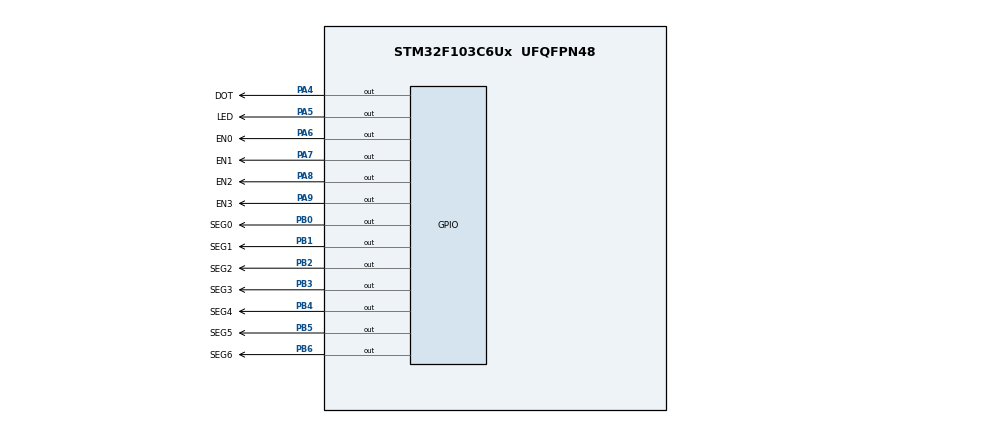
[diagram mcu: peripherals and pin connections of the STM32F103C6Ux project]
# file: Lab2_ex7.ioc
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Mcu.Family=STM32F1
Mcu.Name=STM32F103C6Ux
Mcu.Package=UFQFPN48
NVIC.PriorityGroup=NVIC_PRIORITYGROUP_4
NVIC.TIM2_IRQn=true\:0\:0\:false\:false\:true\:true\:true
PA4.GPIO_Label=DOT
PA4.Signal=GPIO_Output
PA5.GPIO_Label=LED
PA5.Signal=GPIO_Output
PA6.GPIO_Label=EN0
PA6.Signal=GPIO_Output
PA7.GPIO_Label=EN1
PA7.Signal=GPIO_Output
PA8.GPIO_Label=EN2
PA8.Signal=GPIO_Output
PA9.GPIO_Label=EN3
PA9.Signal=GPIO_Output
PB0.GPIO_Label=SEG0
PB0.Signal=GPIO_Output
PB1.GPIO_Label=SEG1
PB1.Signal=GPIO_Output
PB2.GPIO_Label=SEG2
PB2.Signal=GPIO_Output
PB3.GPIO_Label=SEG3
PB3.Signal=GPIO_Output
PB4.GPIO_Label=SEG4
PB4.Signal=GPIO_Output
PB5.GPIO_Label=SEG5
PB5.Signal=GPIO_Output
PB6.GPIO_Label=SEG6
PB6.Signal=GPIO_Output
ProjectManager.HeapSize=0x200
ProjectManager.StackSize=0x400
ProjectManager.TargetToolchain=STM32CubeIDE
RCC.APB1Freq_Value=8000000
RCC.APB2Freq_Value=8000000
TIM2.Period=9
TIM2.Prescaler=7999
VP_SYS_VS_ND.Mode=No_Debug
VP_TIM2_VS_ClockSourceINT.Mode=Internal
board=custom

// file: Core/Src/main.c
/* USER CODE BEGIN Header */
/**
  ******************************************************************************
  * @file           : main.c
  * @brief          : Main program body
  ******************************************************************************
  * @attention
  *
  * <h2><center>&copy; Copyright (c) 2022 STMicroelectronics.
  * All rights reserved.</center></h2>
  *
  * This software component is licensed by ST under BSD 3-Clause license,
  * the "License"; You may not use this file except in compliance with the
  * License. You may obtain a copy of the License at:
  *                        opensource.org/licenses/BSD-3-Clause
  *
  ******************************************************************************
  */
/* USER CODE END Header */
#include "main.h"

TIM_HandleTypeDef htim2;

void SystemClock_Config(void);
static void MX_GPIO_Init(void);
static void MX_TIM2_Init(void);

/* USER CODE BEGIN 0 */
void display7SEG(int num){
		  // VARIABLES a,b,c,d,e,f,g ARE DEFINED BY THESE SPECIFIC DESCRIPTION ABOVE.
		  // DISLAY NUMBER 0
			if(num == 0){
				HAL_GPIO_WritePin ( SEG0_GPIO_Port , SEG0_Pin ,GPIO_PIN_RESET );
				HAL_GPIO_WritePin ( SEG1_GPIO_Port , SEG1_Pin ,GPIO_PIN_RESET );
				HAL_GPIO_WritePin ( SEG2_GPIO_Port , SEG2_Pin ,GPIO_PIN_RESET );
				HAL_GPIO_WritePin ( SEG3_GPIO_Port , SEG3_Pin ,GPIO_PIN_RESET );
				HAL_GPIO_WritePin ( SEG4_GPIO_Port , SEG4_Pin ,GPIO_PIN_RESET );
				HAL_GPIO_WritePin ( SEG5_GPIO_Port , SEG5_Pin ,GPIO_PIN_RESET );
				HAL_GPIO_WritePin ( SEG6_GPIO_Port , SEG6_Pin ,GPIO_PIN_SET );
			}
			// DISLAY NUMBER 1
			else if(num == 1){
				HAL_GPIO_WritePin ( SEG0_GPIO_Port , SEG0_Pin ,GPIO_PIN_SET );
				HAL_GPIO_WritePin ( SEG1_GPIO_Port , SEG1_Pin ,GPIO_PIN_RESET );
				HAL_GPIO_WritePin ( SEG2_GPIO_Port , SEG2_Pin ,GPIO_PIN_RESET );
				HAL_GPIO_WritePin ( SEG3_GPIO_Port , SEG3_Pin ,GPIO_PIN_SET );
				HAL_GPIO_WritePin ( SEG4_GPIO_Port , SEG4_Pin ,GPIO_PIN_SET );
				HAL_GPIO_WritePin ( SEG5_GPIO_Port , SEG5_Pin ,GPIO_PIN_SET );
				HAL_GPIO_WritePin ( SEG6_GPIO_Port , SEG6_Pin ,GPIO_PIN_SET );
			}
			// DISLAY NUMBER 2
			else if(num == 2){
					HAL_GPIO_WritePin ( SEG0_GPIO_Port , SEG0_Pin ,GPIO_PIN_RESET );
					HAL_GPIO_WritePin ( SEG1_GPIO_Port , SEG1_Pin ,GPIO_PIN_RESET );
					HAL_GPIO_WritePin ( SEG2_GPIO_Port , SEG2_Pin ,GPIO_PIN_SET );
					HAL_GPIO_WritePin ( SEG3_GPIO_Port , SEG3_Pin ,GPIO_PIN_RESET );
					HAL_GPIO_WritePin ( SEG4_GPIO_Port , SEG4_Pin ,GPIO_PIN_RESET );
					HAL_GPIO_WritePin ( SEG5_GPIO_Port , SEG5_Pin ,GPIO_PIN_SET );
					HAL_GPIO_WritePin ( SEG6_GPIO_Port , SEG6_Pin ,GPIO_PIN_RESET );
				}
		    // DISLAY NUMBER 3
			else if(num == 3){
				HAL_GPIO_WritePin ( SEG0_GPIO_Port , SEG0_Pin ,GPIO_PIN_RESET );
				HAL_GPIO_WritePin ( SEG1_GPIO_Port , SEG1_Pin ,GPIO_PIN_RESET );
				HAL_GPIO_WritePin ( SEG2_GPIO_Port , SEG2_Pin ,GPIO_PIN_RESET );
				HAL_GPIO_WritePin ( SEG3_GPIO_Port , SEG3_Pin ,GPIO_PIN_RESET );
				HAL_GPIO_WritePin ( SEG4_GPIO_Port , SEG4_Pin ,GPIO_PIN_SET );
				HAL_GPIO_WritePin ( SEG5_GPIO_Port , SEG5_Pin ,GPIO_PIN_SET );
				HAL_GPIO_WritePin ( SEG6_GPIO_Port , SEG6_Pin ,GPIO_PIN_RESET );
			}
			// DISLAY NUMBER 4
			else if(num == 4){
				HAL_GPIO_WritePin ( SEG0_GPIO_Port , SEG0_Pin ,GPIO_PIN_SET );
				HAL_GPIO_WritePin ( SEG1_GPIO_Port , SEG1_Pin ,GPIO_PIN_RESET );
				HAL_GPIO_WritePin ( SEG2_GPIO_Port , SEG2_Pin ,GPIO_PIN_RESET );
				HAL_GPIO_WritePin ( SEG3_GPIO_Port , SEG3_Pin ,GPIO_PIN_SET );
				HAL_GPIO_WritePin ( SEG4_GPIO_Port , SEG4_Pin ,GPIO_PIN_SET );
				HAL_GPIO_WritePin ( SEG5_GPIO_Port , SEG5_Pin ,GPIO_PIN_RESET );
				HAL_GPIO_WritePin ( SEG6_GPIO_Port , SEG6_Pin ,GPIO_PIN_RESET );
			}
			// DISLAY NUMBER 5
			else if(num == 5){
				HAL_GPIO_WritePin ( SEG0_GPIO_Port , SEG0_Pin ,GPIO_PIN_RESET );
				HAL_GPIO_WritePin ( SEG1_GPIO_Port , SEG1_Pin ,GPIO_PIN_SET );
				HAL_GPIO_WritePin ( SEG2_GPIO_Port , SEG2_Pin ,GPIO_PIN_RESET );
				HAL_GPIO_WritePin ( SEG3_GPIO_Port , SEG3_Pin ,GPIO_PIN_RESET );
				HAL_GPIO_WritePin ( SEG4_GPIO_Port , SEG4_Pin ,GPIO_PIN_SET );
				HAL_GPIO_WritePin ( SEG5_GPIO_Port , SEG5_Pin ,GPIO_PIN_RESET );
				HAL_GPIO_WritePin ( SEG6_GPIO_Port , SEG6_Pin ,GPIO_PIN_RESET );
			}
			// DISLAY NUMBER 6
			else if(num == 6){
				HAL_GPIO_WritePin ( SEG0_GPIO_Port , SEG0_Pin ,GPIO_PIN_RESET );
				HAL_GPIO_WritePin ( SEG1_GPIO_Port , SEG1_Pin ,GPIO_PIN_SET );
				HAL_GPIO_WritePin ( SEG2_GPIO_Port , SEG2_Pin ,GPIO_PIN_RESET );
				HAL_GPIO_WritePin ( SEG3_GPIO_Port , SEG3_Pin ,GPIO_PIN_RESET );
				HAL_GPIO_WritePin ( SEG4_GPIO_Port , SEG4_Pin ,GPIO_PIN_RESET );
				HAL_GPIO_WritePin ( SEG5_GPIO_Port , SEG5_Pin ,GPIO_PIN_RESET );
				HAL_GPIO_WritePin ( SEG6_GPIO_Port , SEG6_Pin ,GPIO_PIN_RESET );
			}
			// DISLAY NUMBER 7
			else if(num == 7){
				HAL_GPIO_WritePin ( SEG0_GPIO_Port , SEG0_Pin ,GPIO_PIN_RESET );
				HAL_GPIO_WritePin ( SEG1_GPIO_Port , SEG1_Pin ,GPIO_PIN_RESET );
				HAL_GPIO_WritePin ( SEG2_GPIO_Port , SEG2_Pin ,GPIO_PIN_RESET );
				HAL_GPIO_WritePin ( SEG3_GPIO_Port , SEG3_Pin ,GPIO_PIN_SET );
				HAL_GPIO_WritePin ( SEG4_GPIO_Port , SEG4_Pin ,GPIO_PIN_SET );
				HAL_GPIO_WritePin ( SEG5_GPIO_Port , SEG5_Pin ,GPIO_PIN_SET );
				HAL_GPIO_WritePin ( SEG6_GPIO_Port , SEG6_Pin ,GPIO_PIN_SET );
			}
			// DISLAY NUMBER 8
			else if(num == 8){
				HAL_GPIO_WritePin ( SEG0_GPIO_Port , SEG0_Pin ,GPIO_PIN_RESET );
				HAL_GPIO_WritePin ( SEG1_GPIO_Port , SEG1_Pin ,GPIO_PIN_RESET );
				HAL_GPIO_WritePin ( SEG2_GPIO_Port , SEG2_Pin ,GPIO_PIN_RESET );
				HAL_GPIO_WritePin ( SEG3_GPIO_Port , SEG3_Pin ,GPIO_PIN_RESET );
				HAL_GPIO_WritePin ( SEG4_GPIO_Port , SEG4_Pin ,GPIO_PIN_RESET );
				HAL_GPIO_WritePin ( SEG5_GPIO_Port , SEG5_Pin ,GPIO_PIN_RESET );
				HAL_GPIO_WritePin ( SEG6_GPIO_Port , SEG6_Pin ,GPIO_PIN_RESET );
			}
			// DISLAY NUMBER 9
			else if(num == 9){
				HAL_GPIO_WritePin ( SEG0_GPIO_Port , SEG0_Pin ,GPIO_PIN_RESET );
				HAL_GPIO_WritePin ( SEG1_GPIO_Port , SEG1_Pin ,GPIO_PIN_RESET );
				HAL_GPIO_WritePin ( SEG2_GPIO_Port , SEG2_Pin ,GPIO_PIN_RESET );
				HAL_GPIO_WritePin ( SEG3_GPIO_Port , SEG3_Pin ,GPIO_PIN_RESET );
				HAL_GPIO_WritePin ( SEG4_GPIO_Port , SEG4_Pin ,GPIO_PIN_SET );
				HAL_GPIO_WritePin ( SEG5_GPIO_Port , SEG5_Pin ,GPIO_PIN_RESET );
				HAL_GPIO_WritePin ( SEG6_GPIO_Port , SEG6_Pin ,GPIO_PIN_RESET );
			}
		}
	const int MAX_LED = 4;
	int index_led = 0;
	int led_buffer [4] = {1, 2, 3, 4};
	void update7SEG ( int index ){
		HAL_GPIO_WritePin(GPIOA, EN0_Pin, SET);
		HAL_GPIO_WritePin(GPIOA, EN1_Pin, SET);
		HAL_GPIO_WritePin(GPIOA, EN2_Pin, SET);
		HAL_GPIO_WritePin(GPIOA, EN3_Pin, SET);
		display7SEG(led_buffer[index]);
			switch ( index ){
				case 0:
					HAL_GPIO_WritePin(GPIOA, EN0_Pin, RESET);

					// Display the first 7 SEG with led_buffer [0]
					break ;
				case 1:
					HAL_GPIO_WritePin(GPIOA, EN1_Pin, RESET);

					// Display the second 7 SEG with led_buffer [1]
					break ;
				case 2:

					HAL_GPIO_WritePin(GPIOA, EN2_Pin, RESET);

					// Display the third 7 SEG with led_buffer [2]
					break ;
				case 3:
					HAL_GPIO_WritePin(GPIOA, EN3_Pin, RESET);

					// Display the forth 7 SEG with led_buffer [3]
					break ;
				default :
					break ;
			}
 }
	int timer0_counter = 0;
	int timer0_flag = 0;
	int TIMER_CYCLE = 10;
	void setTimer0(int duration){
		timer0_counter = duration /TIMER_CYCLE;
		timer0_flag = 0;
	}
	void timer_run(){
		if(timer0_counter > 0){
			timer0_counter--;
			if(timer0_counter == 0) timer0_flag = 1;
		}
	}

	int hour = 5,minute = 8,second = 50;
	void updateClockBuffer(){
		led_buffer[0] = hour/10;
		led_buffer[1] = hour%10;
		led_buffer[2] = minute/10;
		led_buffer[3] = minute%10;

	}
/* USER CODE END 0 */

int main(void)
{

  /* MCU Configuration--------------------------------------------------------*/

  /* Reset of all peripherals, Initializes the Flash interface and the Systick. */
  HAL_Init();

  /* Configure the system clock */
  SystemClock_Config();

  /* Initialize all configured peripherals */
  MX_GPIO_Init();
  MX_TIM2_Init();
  /* USER CODE BEGIN 2 */
  HAL_TIM_Base_Start_IT(&htim2);

  /* USER CODE END 2 */

  /* Infinite loop */
  /* USER CODE BEGIN WHILE */
  setTimer0 (1000) ;

  while (1)
  {
    /* USER CODE END WHILE */
	  second ++;
	   if ( second >= 60) {
	   second = 0;
	   minute ++;
	   }
	   if( minute >= 60) {
	   minute = 0;
	   hour ++;
	   }
	   if( hour >=24){
	   hour = 0;
	   }
	   updateClockBuffer ();
	   setTimer0 (1000) ;
  }
}

void SystemClock_Config(void)
{
  RCC_OscInitTypeDef RCC_OscInitStruct = {0};
  RCC_ClkInitTypeDef RCC_ClkInitStruct = {0};

  /** Initializes the RCC Oscillators according to the specified parameters
  * in the RCC_OscInitTypeDef structure.
  */
  RCC_OscInitStruct.OscillatorType = RCC_OSCILLATORTYPE_HSI;
  RCC_OscInitStruct.HSIState = RCC_HSI_ON;
  RCC_OscInitStruct.HSICalibrationValue = RCC_HSICALIBRATION_DEFAULT;
  RCC_OscInitStruct.PLL.PLLState = RCC_PLL_NONE;
  if (HAL_RCC_OscConfig(&RCC_OscInitStruct) != HAL_OK)
  {
    Error_Handler();
  }
  /** Initializes the CPU, AHB and APB buses clocks
  */
  RCC_ClkInitStruct.ClockType = RCC_CLOCKTYPE_HCLK|RCC_CLOCKTYPE_SYSCLK
                              |RCC_CLOCKTYPE_PCLK1|RCC_CLOCKTYPE_PCLK2;
  RCC_ClkInitStruct.SYSCLKSource = RCC_SYSCLKSOURCE_HSI;
  RCC_ClkInitStruct.AHBCLKDivider = RCC_SYSCLK_DIV1;
  RCC_ClkInitStruct.APB1CLKDivider = RCC_HCLK_DIV1;
  RCC_ClkInitStruct.APB2CLKDivider = RCC_HCLK_DIV1;

  if (HAL_RCC_ClockConfig(&RCC_ClkInitStruct, FLASH_LATENCY_0) != HAL_OK)
  {
    Error_Handler();
  }
}

static void MX_TIM2_Init(void)
{

  TIM_ClockConfigTypeDef sClockSourceConfig = {0};
  TIM_MasterConfigTypeDef sMasterConfig = {0};

  htim2.Instance = TIM2;
  htim2.Init.Prescaler = 7999;
  htim2.Init.CounterMode = TIM_COUNTERMODE_UP;
  htim2.Init.Period = 9;
  htim2.Init.ClockDivision = TIM_CLOCKDIVISION_DIV1;
  htim2.Init.AutoReloadPreload = TIM_AUTORELOAD_PRELOAD_DISABLE;
  if (HAL_TIM_Base_Init(&htim2) != HAL_OK)
  {
    Error_Handler();
  }
  sClockSourceConfig.ClockSource = TIM_CLOCKSOURCE_INTERNAL;
  if (HAL_TIM_ConfigClockSource(&htim2, &sClockSourceConfig) != HAL_OK)
  {
    Error_Handler();
  }
  sMasterConfig.MasterOutputTrigger = TIM_TRGO_RESET;
  sMasterConfig.MasterSlaveMode = TIM_MASTERSLAVEMODE_DISABLE;
  if (HAL_TIMEx_MasterConfigSynchronization(&htim2, &sMasterConfig) != HAL_OK)
  {
    Error_Handler();
  }

}

static void MX_GPIO_Init(void)
{
  GPIO_InitTypeDef GPIO_InitStruct = {0};

  /* GPIO Ports Clock Enable */
  __HAL_RCC_GPIOA_CLK_ENABLE();
  __HAL_RCC_GPIOB_CLK_ENABLE();

  /*Configure GPIO pin Output Level */
  HAL_GPIO_WritePin(GPIOA, DOT_Pin|LED_Pin|EN0_Pin|EN1_Pin
                          |EN2_Pin|EN3_Pin, GPIO_PIN_RESET);

  /*Configure GPIO pin Output Level */
  HAL_GPIO_WritePin(GPIOB, SEG0_Pin|SEG1_Pin|SEG2_Pin|SEG3_Pin
                          |SEG4_Pin|SEG5_Pin|SEG6_Pin, GPIO_PIN_RESET);

  /*Configure GPIO pins : DOT_Pin LED_Pin EN0_Pin EN1_Pin
                           EN2_Pin EN3_Pin */
  GPIO_InitStruct.Pin = DOT_Pin|LED_Pin|EN0_Pin|EN1_Pin
                          |EN2_Pin|EN3_Pin;
  GPIO_InitStruct.Mode = GPIO_MODE_OUTPUT_PP;
  GPIO_InitStruct.Pull = GPIO_NOPULL;
  GPIO_InitStruct.Speed = GPIO_SPEED_FREQ_LOW;
  HAL_GPIO_Init(GPIOA, &GPIO_InitStruct);

  /*Configure GPIO pins : SEG0_Pin SEG1_Pin SEG2_Pin SEG3_Pin
                           SEG4_Pin SEG5_Pin SEG6_Pin */
  GPIO_InitStruct.Pin = SEG0_Pin|SEG1_Pin|SEG2_Pin|SEG3_Pin
                          |SEG4_Pin|SEG5_Pin|SEG6_Pin;
  GPIO_InitStruct.Mode = GPIO_MODE_OUTPUT_PP;
  GPIO_InitStruct.Pull = GPIO_NOPULL;
  GPIO_InitStruct.Speed = GPIO_SPEED_FREQ_LOW;
  HAL_GPIO_Init(GPIOB, &GPIO_InitStruct);

}

/* USER CODE BEGIN 4 */
int blink_LED = 25;//Half second
int blink_DOT = 100;// a second
int idx_7seg  = 0;
void HAL_TIM_PeriodElapsedCallback(TIM_HandleTypeDef *htim){
	blink_LED--;
	blink_DOT--;
	if (blink_DOT <= 0){
		blink_DOT = 100;
		HAL_GPIO_TogglePin(GPIOA, DOT_Pin);
	}
	if(blink_LED <= 0){
		blink_LED = 25;
		HAL_GPIO_TogglePin(LED_GPIO_Port, LED_Pin);
		if(index_led > 3)index_led = 0;
		update7SEG (  index_led++ );
	}
}

/* USER CODE END 4 */

void Error_Handler(void)
{
  __disable_irq();
  while (1)
  {
  }
}

/************************ (C) COPYRIGHT STMicroelectronics *****END OF FILE****/
